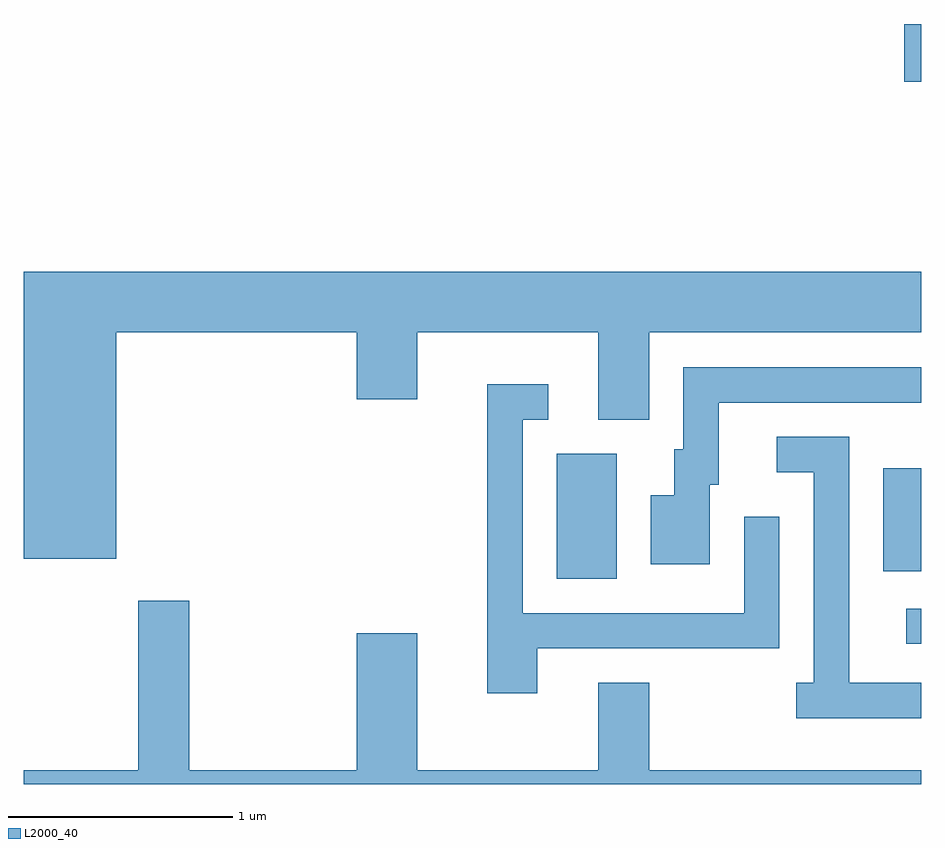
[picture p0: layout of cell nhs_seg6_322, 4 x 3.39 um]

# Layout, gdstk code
import gdstk
lib = gdstk.Library(unit=1e-6, precision=1e-09)
def R(c, l, rs):  # rectangles x0, y0, x1, y1
    for r in rs: c.add(gdstk.rectangle(r[:2], r[2:], *l))
def P(c, l, *ps):  # polygons
    for p in ps: c.add(gdstk.Polygon(p, *l))
L2000_40 = (2000, 40)

nhs_seg6_322 = lib.new_cell('nhs_seg6_322')
R(nhs_seg6_322, L2000_40, [(197.543,1630.786,197.611,1630.944), (195.986,1631.076,196.254,1631.634), (197.441,1631.111,197.611,1631.569), (197.536,1633.291,197.611,1633.549)])
P(nhs_seg6_322, L2000_40, [(194.024,1632.176),(195.096,1632.176),(195.096,1631.876),(195.364,1631.876),(195.364,1632.176),(196.171,1632.176),(196.171,1631.786),(196.399,1631.786),(196.399,1632.176),(197.611,1632.176),(197.611,1632.444),(193.611,1632.444),(193.611,1631.166),(194.024,1631.166)],
  [(196.669,1631.496),(196.709,1631.496),(196.709,1631.861),(197.611,1631.861),(197.611,1632.019),(196.551,1632.019),(196.551,1631.654),(196.511,1631.654),(196.511,1631.449),(196.406,1631.449),(196.406,1631.141),(196.669,1631.141)],
  [(195.899,1630.766),(196.979,1630.766),(196.979,1631.353),(196.821,1631.353),(196.821,1630.924),(195.834,1630.924),(195.834,1631.786),(195.948,1631.786),(195.948,1631.944),(195.676,1631.944),(195.676,1630.566),(195.899,1630.566)],
  [(197.611,1630.614),(197.289,1630.614),(197.289,1631.709),(196.968,1631.709),(196.968,1631.551),(197.131,1631.551),(197.131,1630.614),(197.053,1630.614),(197.053,1630.456),(197.611,1630.456)],
  [(197.611,1630.224),(196.399,1630.224),(196.399,1630.614),(196.171,1630.614),(196.171,1630.224),(195.364,1630.224),(195.364,1630.834),(195.096,1630.834),(195.096,1630.224),(194.349,1630.224),(194.349,1630.979),(194.121,1630.979),(194.121,1630.224),(193.611,1630.224),(193.611,1630.162),(197.611,1630.162)])

lib.write_gds('nhs_seg6_322.gds')
